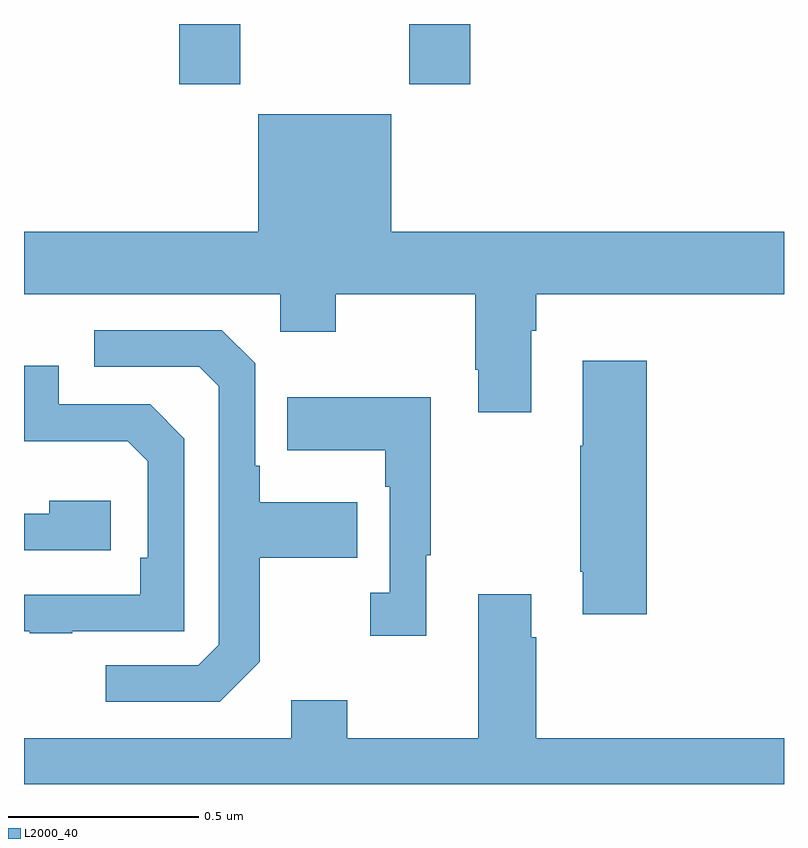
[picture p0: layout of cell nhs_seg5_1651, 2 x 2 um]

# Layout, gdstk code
import gdstk
lib = gdstk.Library(unit=1e-6, precision=1e-09)
def R(c, l, rs):  # rectangles x0, y0, x1, y1
    for r in rs: c.add(gdstk.rectangle(r[:2], r[2:], *l))
def P(c, l, *ps):  # polygons
    for p in ps: c.add(gdstk.Polygon(p, *l))
L2000_40 = (2000, 40)

nhs_seg5_1651 = lib.new_cell('nhs_seg5_1651')
R(nhs_seg5_1651, L2000_40, [(133.409,862.641,133.569,862.799), (134.014,862.641,134.174,862.799)])
P(nhs_seg5_1651, L2000_40, [(134.335,861.992),(134.348,861.992),(134.348,862.088),(135,862.088),(135,862.252),(133.966,862.252),(133.966,862.561),(133.616,862.561),(133.616,862.252),(133,862.252),(133,862.088),(133.674,862.088),(133.674,861.989),(133.821,861.989),(133.821,862.088),(134.188,862.088),(134.188,861.889),(134.195,861.889),(134.195,861.777),(134.335,861.777)],
  [(133.621,861.121),(133.621,861.394),(133.877,861.394),(133.877,861.541),(133.621,861.541),(133.621,861.637),(133.608,861.637),(133.608,861.906),(133.521,861.993),(133.185,861.993),(133.185,861.897),(133.461,861.897),(133.512,861.846),(133.512,861.165),(133.458,861.111),(133.215,861.111),(133.215,861.015),(133.515,861.015)],
  [(134.639,861.913),(134.471,861.913),(134.471,861.689),(134.464,861.689),(134.464,861.358),(134.471,861.358),(134.471,861.246),(134.639,861.246)],
  [(133.127,861.201),(133.422,861.201),(133.422,861.708),(133.332,861.798),(133.092,861.798),(133.092,861.9),(133,861.9),(133,861.701),(133.273,861.701),(133.326,861.648),(133.326,861.394),(133.306,861.394),(133.306,861.297),(133,861.297),(133,861.201),(133.015,861.201),(133.015,861.196),(133.127,861.196)],
  [(134.059,861.401),(134.071,861.401),(134.071,861.817),(133.693,861.817),(133.693,861.677),(133.95,861.677),(133.95,861.581),(133.962,861.581),(133.962,861.302),(133.911,861.302),(133.911,861.189),(134.059,861.189)],
  [(133.228,861.544),(133.067,861.544),(133.067,861.51),(133,861.51),(133,861.414),(133.228,861.414)],
  [(135,860.92),(134.348,860.92),(134.348,861.185),(134.335,861.185),(134.335,861.298),(134.195,861.298),(134.195,860.92),(133.851,860.92),(133.851,861.019),(133.703,861.019),(133.703,860.92),(133,860.92),(133,860.799),(135,860.799)])

lib.write_gds('nhs_seg5_1651.gds')
